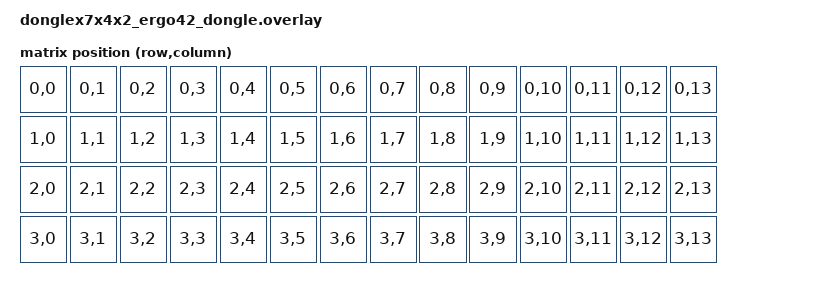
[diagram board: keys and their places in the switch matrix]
#include <dt-bindings/zmk/matrix_transform.h>

#include "donglex7x4x2_ergo42-layouts.dtsi"

/ {
    chosen {
        zephyr,display = &oled;
        zmk,kscan = &mock_kscan;
        zmk,physical-layout = &default_layout;
    };

    mock_kscan: mock_kscan_0 {
        compatible = "zmk,kscan-mock";
        columns = <0>;
        rows = <0>;
        events = <0>;
    };

    default_transform: default_transform {
        compatible = "zmk,matrix-transform";
        columns = <14>;
        rows = <4>;
        map = <
        //  --- LEFT SIDE (7 columns) ---              --- RIGHT SIDE (7 columns) ---
        //  L01     L02     L03     L04     L05     L06     L07         R01     R02     R03     R04     R05     R06     R07
            RC(0,0) RC(0,1) RC(0,2) RC(0,3) RC(0,4) RC(0,5) RC(0,6)     RC(0,7) RC(0,8) RC(0,9) RC(0,10) RC(0,11) RC(0,12) RC(0,13)
        //  L08     L09     L10     L11     L12     L13     L14         R08     R09     R10     R11     R12     R13     R14
            RC(1,0) RC(1,1) RC(1,2) RC(1,3) RC(1,4) RC(1,5) RC(1,6)     RC(1,7) RC(1,8) RC(1,9) RC(1,10) RC(1,11) RC(1,12) RC(1,13)
        //  L15     L16     L17     L18     L19     L20     L21         R15     R16     R17     R18     R19     R20     R21
            RC(2,0) RC(2,1) RC(2,2) RC(2,3) RC(2,4) RC(2,5) RC(2,6)     RC(2,7) RC(2,8) RC(2,9) RC(2,10) RC(2,11) RC(2,12) RC(2,13)
        //  L22     L23     L24     L25     L26     L27     L28         R22     R23     R24     R25     R26     R27     R28
            RC(3,0) RC(3,1) RC(3,2) RC(3,3) RC(3,4) RC(3,5) RC(3,6)     RC(3,7) RC(3,8) RC(3,9) RC(3,10) RC(3,11) RC(3,12) RC(3,13)
        >;
    };
};

&default_layout {
    kscan = <&mock_kscan>;
};

&pro_micro_i2c {
    status = "okay";
    clock-frequency = <100000>;

    oled: ssd1306@3c {
        compatible = "solomon,ssd1306fb";
        reg = <0x3c>;
        width = <128>;
        height = <64>;
        segment-offset = <0>;
        page-offset = <0>;
        display-offset = <0>;
        multiplex-ratio = <63>;
        prechargep = <0x22>;
        ready-time-ms = <10>;

        segment-remap;
        com-invdir;
    };
};
